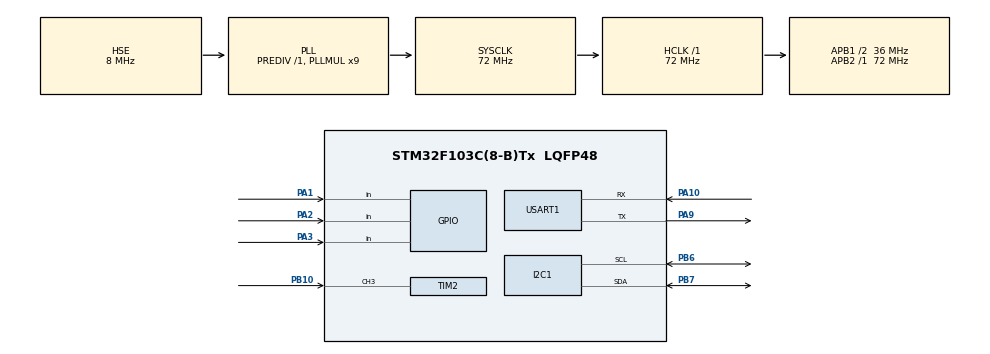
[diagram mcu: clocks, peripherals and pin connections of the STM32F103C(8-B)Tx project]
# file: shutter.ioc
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FREERTOS.Tasks01=defaultTask,0,128,StartDefaultTask,Default,NULL,Dynamic,NULL,NULL
FREERTOS.configUSE_PREEMPTION=1
Mcu.Family=STM32F1
Mcu.Name=STM32F103C(8-B)Tx
Mcu.Package=LQFP48
NVIC.PriorityGroup=NVIC_PRIORITYGROUP_4
NVIC.TIM1_UP_IRQn=true\:15\:0\:false\:false\:true\:false\:false\:true\:true
NVIC.TIM2_IRQn=true\:5\:0\:false\:false\:true\:true\:true\:true\:true
NVIC.TimeBase=TIM1_UP_IRQn
NVIC.TimeBaseIP=TIM1
PA1.Signal=GPIO_Input
PA10.Mode=Asynchronous
PA10.Signal=USART1_RX
PA2.Signal=GPIO_Input
PA3.Signal=GPIO_Input
PA9.Mode=Asynchronous
PA9.Signal=USART1_TX
PB10.Signal=S_TIM2_CH3
PB6.GPIO_Mode=GPIO_MODE_AF_OD
PB6.Mode=I2C
PB6.Signal=I2C1_SCL
PB7.Mode=I2C
PB7.Signal=I2C1_SDA
PD0-OSC_IN.Mode=HSE-External-Oscillator
PD0-OSC_IN.Signal=RCC_OSC_IN
PD1-OSC_OUT.Mode=HSE-External-Oscillator
PD1-OSC_OUT.Signal=RCC_OSC_OUT
ProjectManager.HeapSize=0x200
ProjectManager.StackSize=0x400
ProjectManager.TargetToolchain=Makefile
RCC.AHBFreq_Value=72000000
RCC.APB1CLKDivider=RCC_HCLK_DIV2
RCC.APB1Freq_Value=36000000
RCC.APB1TimFreq_Value=72000000
RCC.APB2Freq_Value=72000000
RCC.APB2TimFreq_Value=72000000
RCC.HCLKFreq_Value=72000000
RCC.PLLMUL=RCC_PLL_MUL9
RCC.PLLSourceVirtual=RCC_PLLSOURCE_HSE
RCC.SYSCLKFreq_VALUE=72000000
RCC.SYSCLKSource=RCC_SYSCLKSOURCE_PLLCLK
RCC.USBFreq_Value=72000000
SH.S_TIM2_CH3.0=TIM2_CH3,Input_Capture3_from_TI3
TIM2.Channel-Input_Capture3_from_TI3=TIM_CHANNEL_3
TIM2.Prescaler=72-1
USART1.VirtualMode=VM_ASYNC
VP_FREERTOS_VS_CMSIS_V1.Mode=CMSIS_V1
VP_SYS_VS_ND.Mode=No_Debug
VP_SYS_VS_tim1.Mode=TIM1
VP_TIM2_VS_ClockSourceINT.Mode=Internal
board=custom

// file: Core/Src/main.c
/* USER CODE BEGIN Header */
/**
 ******************************************************************************
 * @file           : main.c
 * @brief          : Main program body
 ******************************************************************************
 * @attention
 *
 * Copyright (c) 2026 STMicroelectronics.
 * All rights reserved.
 *
 * This software is licensed under terms that can be found in the LICENSE file
 * in the root directory of this software component.
 * If no LICENSE file comes with this software, it is provided AS-IS.
 *
 ******************************************************************************
 */
/* USER CODE END Header */
#include "main.h"
#include "cmsis_os.h"

/* USER CODE BEGIN Includes */
#include "oled.h"
#include <stdio.h>
#include "ui_core.h"
#include "pulseCapture.h"
#include "test_screen.h"
/* USER CODE END Includes */

I2C_HandleTypeDef hi2c1;

TIM_HandleTypeDef htim2;

UART_HandleTypeDef huart1;

osThreadId defaultTaskHandle;
/* USER CODE BEGIN PV */
extern uint32_t s_overflow_cnt;
extern bool pulse_freq_screen_init(void);
extern const ui_screen_t *pulse_freq_screen_get(void);
extern void pulse_freq_screen_update(void);
extern bool menu_screen_init(void);
/* USER CODE END PV */

void SystemClock_Config(void);
static void MX_GPIO_Init(void);
static void MX_I2C1_Init(void);
static void MX_USART1_UART_Init(void);
static void MX_TIM2_Init(void);
void StartDefaultTask(void const *argument);

/* USER CODE BEGIN 0 */
static const ui_input_binding_t my_buttons = {
    .up = {GPIOA, GPIO_PIN_1, true},
    .down = {GPIOA, GPIO_PIN_2, true},
    .press = {GPIOA, GPIO_PIN_3, true}};

/* USER CODE END 0 */

int main(void)
{

  /* MCU Configuration--------------------------------------------------------*/

  /* Reset of all peripherals, Initializes the Flash interface and the Systick. */
  HAL_Init();

  /* Configure the system clock */
  SystemClock_Config();

  /* Initialize all configured peripherals */
  MX_GPIO_Init();
  MX_I2C1_Init();
  MX_USART1_UART_Init();
  MX_TIM2_Init();
  /* USER CODE BEGIN 2 */
  ui_init();

  OLED_ShowIcon(0, 0, 0x00);
  if (!ui_input_bind_buttons(&my_buttons))
  {
    Error_Handler();
  }
  /* 初始化各屏幕 */
  pulse_freq_screen_init();
  menu_screen_init();

  /* 启动时进入main页面 */
  const ui_screen_t *screen = pulse_freq_screen_get();
  if (!screen)
  {
    printf("[ERROR] Get screen failed!\n");
    Error_Handler();
  }
  ui_set_screen(screen);

  if (PulseCapture_Init(&htim2, TIM_CHANNEL_3) != HAL_OK)
  {
    Error_Handler();
  }
  HAL_TIM_IC_Start_IT(&htim2, TIM_CHANNEL_3); // 启动 TIM2 计数器和中断
  HAL_TIM_Base_Start_IT(&htim2);

  /* USER CODE END 2 */

  /* Create the thread(s) */
  /* definition and creation of defaultTask */
  osThreadDef(defaultTask, StartDefaultTask, osPriorityNormal, 0, 128);
  defaultTaskHandle = osThreadCreate(osThread(defaultTask), NULL);

  /* Start scheduler */
  osKernelStart();

  /* We should never get here as control is now taken by the scheduler */
  /* Infinite loop */

}

void SystemClock_Config(void)
{
  RCC_OscInitTypeDef RCC_OscInitStruct = {0};
  RCC_ClkInitTypeDef RCC_ClkInitStruct = {0};

  /** Initializes the RCC Oscillators according to the specified parameters
   * in the RCC_OscInitTypeDef structure.
   */
  RCC_OscInitStruct.OscillatorType = RCC_OSCILLATORTYPE_HSE;
  RCC_OscInitStruct.HSEState = RCC_HSE_ON;
  RCC_OscInitStruct.HSEPredivValue = RCC_HSE_PREDIV_DIV1;
  RCC_OscInitStruct.HSIState = RCC_HSI_ON;
  RCC_OscInitStruct.PLL.PLLState = RCC_PLL_ON;
  RCC_OscInitStruct.PLL.PLLSource = RCC_PLLSOURCE_HSE;
  RCC_OscInitStruct.PLL.PLLMUL = RCC_PLL_MUL9;
  if (HAL_RCC_OscConfig(&RCC_OscInitStruct) != HAL_OK)
  {
    Error_Handler();
  }

  /** Initializes the CPU, AHB and APB buses clocks
   */
  RCC_ClkInitStruct.ClockType = RCC_CLOCKTYPE_HCLK | RCC_CLOCKTYPE_SYSCLK | RCC_CLOCKTYPE_PCLK1 | RCC_CLOCKTYPE_PCLK2;
  RCC_ClkInitStruct.SYSCLKSource = RCC_SYSCLKSOURCE_PLLCLK;
  RCC_ClkInitStruct.AHBCLKDivider = RCC_SYSCLK_DIV1;
  RCC_ClkInitStruct.APB1CLKDivider = RCC_HCLK_DIV2;
  RCC_ClkInitStruct.APB2CLKDivider = RCC_HCLK_DIV1;

  if (HAL_RCC_ClockConfig(&RCC_ClkInitStruct, FLASH_LATENCY_2) != HAL_OK)
  {
    Error_Handler();
  }
}

static void MX_I2C1_Init(void)
{

  hi2c1.Instance = I2C1;
  hi2c1.Init.ClockSpeed = 100000;
  hi2c1.Init.DutyCycle = I2C_DUTYCYCLE_2;
  hi2c1.Init.OwnAddress1 = 0;
  hi2c1.Init.AddressingMode = I2C_ADDRESSINGMODE_7BIT;
  hi2c1.Init.DualAddressMode = I2C_DUALADDRESS_DISABLE;
  hi2c1.Init.OwnAddress2 = 0;
  hi2c1.Init.GeneralCallMode = I2C_GENERALCALL_DISABLE;
  hi2c1.Init.NoStretchMode = I2C_NOSTRETCH_DISABLE;
  if (HAL_I2C_Init(&hi2c1) != HAL_OK)
  {
    Error_Handler();
  }
}

static void MX_TIM2_Init(void)
{

  TIM_ClockConfigTypeDef sClockSourceConfig = {0};
  TIM_MasterConfigTypeDef sMasterConfig = {0};
  TIM_IC_InitTypeDef sConfigIC = {0};

  htim2.Instance = TIM2;
  htim2.Init.Prescaler = 72 - 1;
  htim2.Init.CounterMode = TIM_COUNTERMODE_UP;
  htim2.Init.Period = 65535;
  htim2.Init.ClockDivision = TIM_CLOCKDIVISION_DIV1;
  htim2.Init.AutoReloadPreload = TIM_AUTORELOAD_PRELOAD_DISABLE;
  if (HAL_TIM_Base_Init(&htim2) != HAL_OK)
  {
    Error_Handler();
  }
  sClockSourceConfig.ClockSource = TIM_CLOCKSOURCE_INTERNAL;
  if (HAL_TIM_ConfigClockSource(&htim2, &sClockSourceConfig) != HAL_OK)
  {
    Error_Handler();
  }
  if (HAL_TIM_IC_Init(&htim2) != HAL_OK)
  {
    Error_Handler();
  }
  sMasterConfig.MasterOutputTrigger = TIM_TRGO_RESET;
  sMasterConfig.MasterSlaveMode = TIM_MASTERSLAVEMODE_DISABLE;
  if (HAL_TIMEx_MasterConfigSynchronization(&htim2, &sMasterConfig) != HAL_OK)
  {
    Error_Handler();
  }
  sConfigIC.ICPolarity = TIM_INPUTCHANNELPOLARITY_RISING;
  sConfigIC.ICSelection = TIM_ICSELECTION_DIRECTTI;
  sConfigIC.ICPrescaler = TIM_ICPSC_DIV1;
  sConfigIC.ICFilter = 0;
  if (HAL_TIM_IC_ConfigChannel(&htim2, &sConfigIC, TIM_CHANNEL_3) != HAL_OK)
  {
    Error_Handler();
  }
}

static void MX_USART1_UART_Init(void)
{

  huart1.Instance = USART1;
  huart1.Init.BaudRate = 115200;
  huart1.Init.WordLength = UART_WORDLENGTH_8B;
  huart1.Init.StopBits = UART_STOPBITS_1;
  huart1.Init.Parity = UART_PARITY_NONE;
  huart1.Init.Mode = UART_MODE_TX_RX;
  huart1.Init.HwFlowCtl = UART_HWCONTROL_NONE;
  huart1.Init.OverSampling = UART_OVERSAMPLING_16;
  if (HAL_UART_Init(&huart1) != HAL_OK)
  {
    Error_Handler();
  }
}

static void MX_GPIO_Init(void)
{
  GPIO_InitTypeDef GPIO_InitStruct = {0};

  /* GPIO Ports Clock Enable */
  __HAL_RCC_GPIOD_CLK_ENABLE();
  __HAL_RCC_GPIOA_CLK_ENABLE();
  __HAL_RCC_GPIOB_CLK_ENABLE();

  /*Configure GPIO pins : PA1 PA2 PA3 */
  GPIO_InitStruct.Pin = GPIO_PIN_1 | GPIO_PIN_2 | GPIO_PIN_3;
  GPIO_InitStruct.Mode = GPIO_MODE_INPUT;
  GPIO_InitStruct.Pull = GPIO_NOPULL;
  HAL_GPIO_Init(GPIOA, &GPIO_InitStruct);

}

void StartDefaultTask(void const *argument)
{
  /* USER CODE BEGIN 5 */
  /* Infinite loop */
  while (1)
  {
    ui_tick();
    pulse_freq_screen_update();
    ui_flush();
    osDelay(50);
  }
  /* USER CODE END 5 */
}

void HAL_TIM_PeriodElapsedCallback(TIM_HandleTypeDef *htim)
{
  if (htim->Instance == TIM1)
  {
    HAL_IncTick();
  }
  if (htim->Instance == TIM2)
  {
    PulseCapture_OnOverflow();
  }
}

void Error_Handler(void)
{
  __disable_irq();
  while (1)
  {
  }
}
